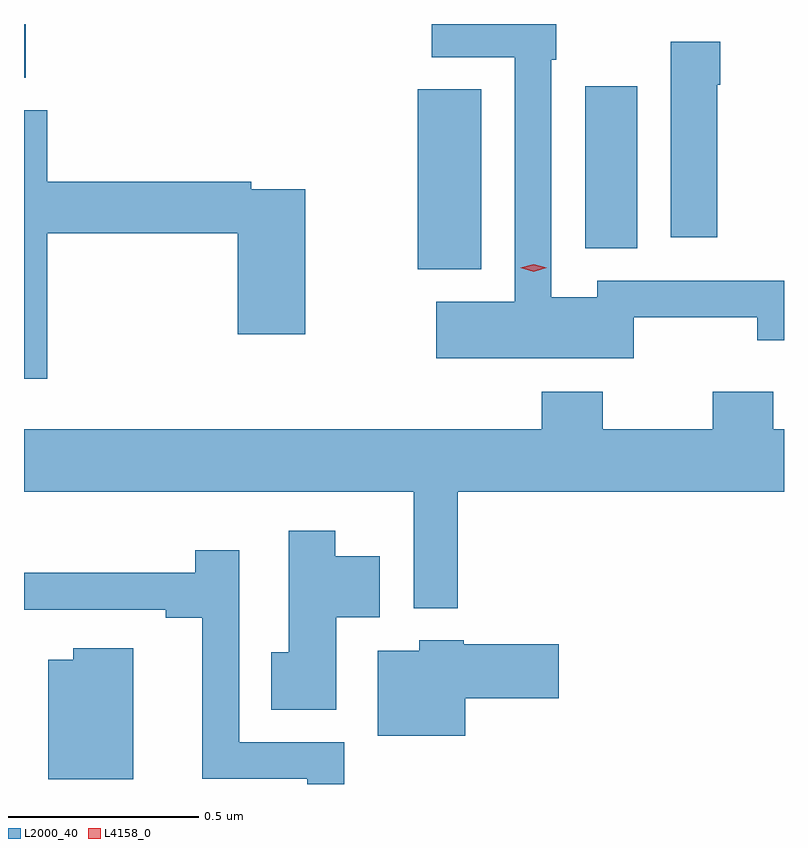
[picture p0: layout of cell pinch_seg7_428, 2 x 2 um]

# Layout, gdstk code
import gdstk
lib = gdstk.Library(unit=1e-6, precision=1e-09)
def R(c, l, rs):  # rectangles x0, y0, x1, y1
    for r in rs: c.add(gdstk.rectangle(r[:2], r[2:], *l))
def P(c, l, *ps):  # polygons
    for p in ps: c.add(gdstk.Polygon(p, *l))
L2000_40 = (2000, 40)
L4158_0 = (4158, 0)

pinch_seg7_428 = lib.new_cell('pinch_seg7_428')
R(pinch_seg7_428, L2000_40, [(578.504,1001.201,578.671,1001.675), (578.945,1001.257,579.082,1001.683), (577.468,1001.705,577.472,1001.847)])
P(pinch_seg7_428, L2000_40, [(579.072,1001.075),(579.398,1001.075),(579.398,1001.015),(579.468,1001.015),(579.468,1001.172),(578.976,1001.172),(578.976,1001.128),(578.856,1001.128),(578.856,1001.753),(578.869,1001.753),(578.869,1001.847),(578.541,1001.847),(578.541,1001.76),(578.76,1001.76),(578.76,1001.116),(578.553,1001.116),(578.553,1000.967),(579.072,1000.967)],
  [(579.292,1001.687),(579.3,1001.687),(579.3,1001.8),(579.17,1001.8),(579.17,1001.286),(579.292,1001.286)],
  [(577.529,1001.296),(578.03,1001.296),(578.03,1001.031),(578.208,1001.031),(578.208,1001.412),(578.066,1001.412),(578.066,1001.432),(577.529,1001.432),(577.529,1001.62),(577.468,1001.62),(577.468,1000.913),(577.529,1000.913)],
  [(578.609,1000.616),(579.468,1000.616),(579.468,1000.78),(579.44,1000.78),(579.44,1000.879),(579.28,1000.879),(579.28,1000.78),(578.991,1000.78),(578.991,1000.879),(578.831,1000.879),(578.831,1000.78),(577.468,1000.78),(577.468,1000.616),(578.493,1000.616),(578.493,1000.31),(578.609,1000.31)],
  [(578.29,1000.286),(578.404,1000.286),(578.404,1000.447),(578.287,1000.447),(578.287,1000.513),(578.165,1000.513),(578.165,1000.194),(578.119,1000.194),(578.119,1000.042),(578.29,1000.042)],
  [(578.311,999.957),(578.034,999.957),(578.034,1000.462),(577.918,1000.462),(577.918,1000.403),(577.468,1000.403),(577.468,1000.305),(577.841,1000.305),(577.841,1000.285),(577.937,1000.285),(577.937,999.861),(578.213,999.861),(578.213,999.847),(578.311,999.847)],
  [(578.629,1000.073),(578.875,1000.073),(578.875,1000.215),(578.625,1000.215),(578.625,1000.225),(578.508,1000.225),(578.508,1000.198),(578.399,1000.198),(578.399,999.974),(578.629,999.974)],
  [(577.756,1000.204),(577.598,1000.204),(577.598,1000.174),(577.532,1000.174),(577.532,999.86),(577.756,999.86)])
P(pinch_seg7_428, L4158_0, [(578.809,1001.195),(578.774,1001.205),(578.774,1001.205),(578.774,1001.205),(578.809,1001.215),(578.844,1001.205),(578.844,1001.205),(578.844,1001.205)])

lib.write_gds('pinch_seg7_428.gds')
